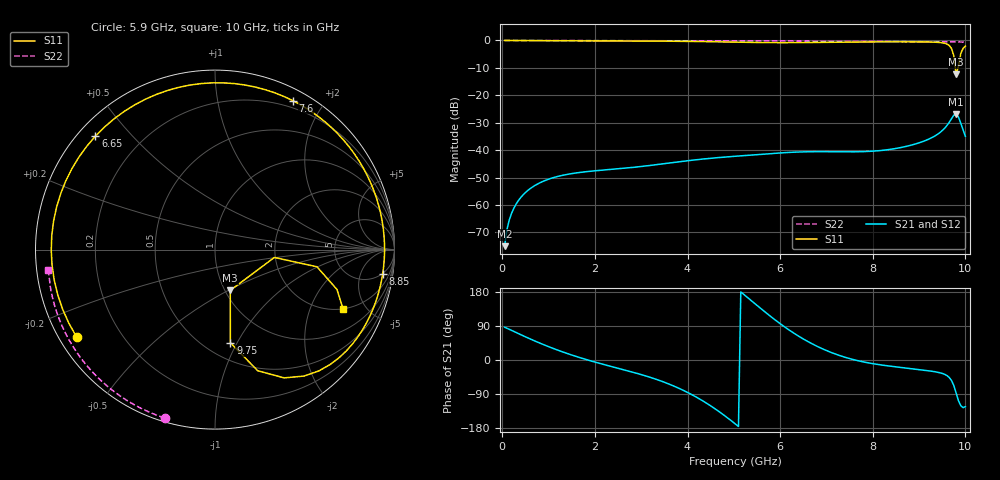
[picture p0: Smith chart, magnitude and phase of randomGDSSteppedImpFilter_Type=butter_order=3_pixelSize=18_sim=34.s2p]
! freq	dB(S11)	phase(S11)	dB(S12)	phase(S12)
!  dB(S21)	phase(S21)	dB(S22)	phase(S22)
!S-par simulation data
#  GHz  S  DB  R 50
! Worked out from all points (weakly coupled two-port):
!   200 points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, 50 MHz to 10 GHz, reference 50 ohm
!   highest |S21| = -26.78 dB at 9.8 GHz (marker M1); lowest = -75.0 dB at 50 MHz (marker M2)
!   lowest |S11| = -12.3 dB at 9.8 GHz (marker M3), VSWR 1.64, Z = 52.9 - j25.6 ohm
!   |S11| at or under -10 dB: 9.783 GHz to 9.842 GHz (58.64 MHz wide, 0.598 % of centre)
!   |S22| runs from -0.6 to 0.0 dB; largest |S21 - S12| = 0
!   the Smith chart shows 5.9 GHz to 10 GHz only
!   S11 on the Smith chart (normalised r, x): 5.9 GHz: 0.05, -0.29; 6.65 GHz: 0.05, +0.40; 7.6 GHz: 0.12, +1.64; 8.85 GHz: 5, -12; 9.75 GHz: 0.65, -0.94; 10 GHz: 1.97, -3.46
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0.05  -0.00 -4.9  -75.03 86.6  -75.03 86.6  -0.00 -1.0
0.3  -0.04 -29.3  -59.62 72.4  -59.62 72.4  -0.01 -5.9
0.85  -0.10 -79.5  -51.60 42.6  -51.60 42.6  -0.02 -16.7
1.75  -0.15 -148.9  -47.98 3.5  -47.98 3.5  -0.04 -34.0
2.55  -0.18 157.6  -46.74 -23.4  -46.74 -23.4  -0.06 -49.0
3.4  -0.25 99.5  -45.15 -54.2  -45.15 -54.2  -0.09 -64.4
3.9  -0.32 60.9  -44.08 -79.5  -44.08 -79.5  -0.10 -73.2
4.4  -0.42 16.7  -43.13 -113.2  -43.13 -113.2  -0.12 -81.8
5.05  -0.62 -50.9  -42.21 -170.5  -42.21 -170.5  -0.14 -92.8
5.45  -0.74 -96.5  -41.70 149.2  -41.70 149.2  -0.16 -99.4
5.9  -0.80 -147.7  -41.13 105.0  -41.13 105.0  -0.19 -106.7
6.25  -0.79 175.1  -40.78 74.5  -40.78 74.5  -0.21 -112.3
6.65  -0.74 136.5  -40.58 45.3  -40.58 45.3  -0.23 -118.7
6.7  -0.73 132.0  -40.57 42.1  -40.57 42.1  -0.23 -119.5
7.6  -0.57 62.5  -40.61 0.5  -40.61 0.5  -0.30 -133.7
8.35  -0.50 17.7  -39.79 -15.8  -39.79 -15.8  -0.37 -145.7
8.85  -0.50 -8.1  -38.09 -23.1  -38.09 -23.1  -0.43 -153.7
9.45  -0.75 -41.1  -33.59 -33.7  -33.59 -33.7  -0.50 -163.6
9.75  -5.58 -80.6  -27.25 -67.3  -27.25 -67.3  -0.55 -168.7
9.8  -12.30 -69.5  -26.78 -86.9  -26.78 -86.9  -0.56 -169.5
9.85  -9.53 -7.5  -27.91 -107.3  -27.91 -107.3  -0.57 -170.3
10  -2.07 -25.0  -34.99 -123.1  -34.99 -123.1  -0.58 -172.9
